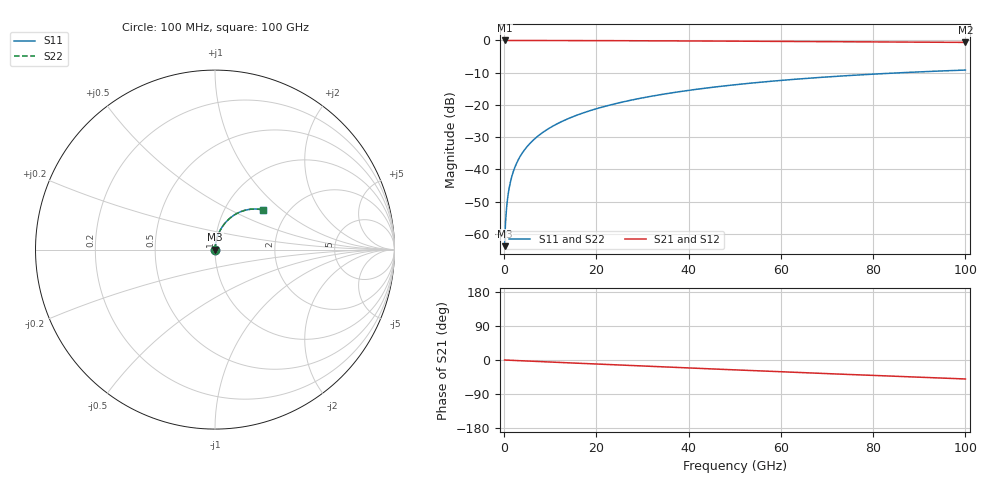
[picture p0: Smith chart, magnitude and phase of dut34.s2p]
! Touchstone file exported from HFSS 2026.1.0
!  File:  C:/ffzhzh/LocalFiles/Ansys_Project_Files/temp_train_TSV_34_1783504648_55944.aedt
!  Generated:  05:58:56 PM Jul  8, 2026
!  Design:  TSV
!  Project:  temp_train_TSV_34_1783504648_55944
! Variables:
!  h_bsmrdl = 2um
!  h_ox = 20um
!  h_rdl = 5um
!  h_sub = 93.15um
!  h_tmrdl = 5um
!  h_tsv = 93.15um
!  h_via = 3um
!  l_bsmrdl = 300um
!  l_sub = 410.36um
!  l_tmrdl = 200um
!  m_sub = 200um
!  pitch = 45.81um
!  r_tsv = 5.18um
!  s_tmrdl = 10um
!  w_bsmrdl = 18um
!  w_sub = 500um
!  w_tmrdl = 12um
!  x_tsv_center1 = 206um
!  x_tsv_center2 = 524um
!  x_tsv_center3 = 736um
!  x_tsv_center4 = 1054um
!  x_tsv_center5 = 1266um
!  x_tsv_center6 = 1584um
# GHz S MA R 50.000000
! Terminal data exported
! Port[1] = TSV1_1_T1
! Port[2] = TSV1_1_T2
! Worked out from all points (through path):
!   1000 points, 100 MHz to 100 GHz, reference 50 ohm
!   highest |S21| = 0.00 dB at 100 MHz (marker M1); lowest = -0.6 dB at 100 GHz (marker M2)
!   group delay of S21, straight-line fit = 1.39 ps
!   lowest |S11| = -63.8 dB at 100 MHz (marker M3), VSWR 1.00, Z = 50 + j0.0487 ohm
!   |S11| at or under -10 dB: start of sweep to 86.1 GHz
!   |S22| runs from -63.8 to -9.2 dB; largest |S21 - S12| = 5.2e-15
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0.1  0.0006478 48.7  0.9996 -0.1  0.9996 -0.1  0.0006478 48.7
! Gamma 0 0 0 0
! Port Impedance 50 0 50 0
0.4  0.001956 76.1  0.9995 -0.2  0.9995 -0.2  0.001956 76.1
0.7  0.003341 81.2  0.9995 -0.4  0.9995 -0.4  0.003341 81.2
0.8  0.003805 82.0  0.9995 -0.4  0.9995 -0.4  0.003805 82.0
1.1  0.005199 83.5  0.9994 -0.6  0.9994 -0.6  0.005199 83.5
1.4  0.006587 84.2  0.9994 -0.8  0.9994 -0.8  0.006587 84.2
1.9  0.008886 84.6  0.9993 -1.0  0.9993 -1.0  0.008886 84.6
2.4  0.01116 84.8  0.9992 -1.3  0.9992 -1.3  0.01116 84.8
3  0.01386 84.8  0.999 -1.6  0.999 -1.6  0.01386 84.8
3.8  0.01743 84.6  0.9988 -2.1  0.9988 -2.1  0.01743 84.6
4.8  0.02185 84.4  0.9986 -2.6  0.9986 -2.6  0.02185 84.4
6  0.02712 84.0  0.9983 -3.2  0.9983 -3.2  0.02712 84.0
8.8  0.03936 83.0  0.9976 -4.7  0.9976 -4.7  0.03936 83.0
12.4  0.05498 81.4  0.9966 -6.6  0.9966 -6.6  0.05498 81.4
16.8  0.07385 79.4  0.9951 -8.9  0.9951 -8.9  0.07385 79.3
24.2  0.105 75.8  0.9919 -12.8  0.9919 -12.8  0.105 75.8
33.4  0.1425 71.2  0.9868 -17.6  0.9868 -17.6  0.1425 71.2
41.2  0.173 67.3  0.9816 -21.6  0.9816 -21.6  0.173 67.3
50.1  0.2059 62.9  0.975 -26.1  0.975 -26.1  0.2059 62.9
66.7  0.2617 54.9  0.9611 -34.3  0.9611 -34.3  0.2617 54.8
83.4  0.3094 47.0  0.9466 -42.3  0.9466 -42.3  0.3094 46.9
100  0.3476 39.3  0.9331 -50.0  0.9331 -50.0  0.3476 39.3
